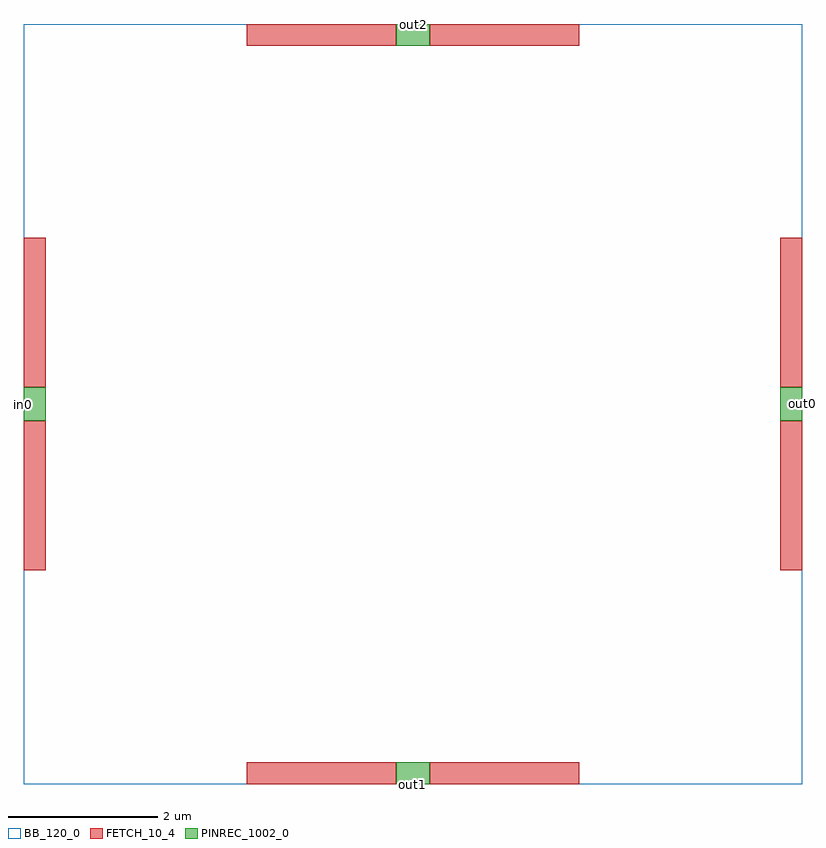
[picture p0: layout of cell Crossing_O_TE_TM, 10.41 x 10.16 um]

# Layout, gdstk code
import gdstk
lib = gdstk.Library(unit=1e-6, precision=1e-09)
def R(c, l, rs):  # rectangles x0, y0, x1, y1
    for r in rs: c.add(gdstk.rectangle(r[:2], r[2:], *l))
FETCH_10_4 = (10, 4)
BB_120_0 = (120, 0)
PINREC_1002_0 = (1002, 0)

crossing_o_te_tm = lib.new_cell('Crossing_O_TE_TM')
R(crossing_o_te_tm, FETCH_10_4, [(2.979,0,4.979,0.29), (5.429,0,7.429,0.29), (0,2.857,0.29,4.857), (10.118,2.857,10.408,4.857), (0,5.307,0.29,7.307), (10.118,5.307,10.408,7.307), (2.979,9.874,4.979,10.164), (5.429,9.874,7.429,10.164)])
R(crossing_o_te_tm, BB_120_0, [(0,0,10.408,10.164)])
R(crossing_o_te_tm, PINREC_1002_0, [(4.979,0,5.429,0.29), (0,4.857,0.29,5.307), (10.118,4.857,10.408,5.307), (4.979,9.874,5.429,10.164)])
crossing_o_te_tm.add(gdstk.Label('out2', (5.209,10.164), layer=1000, texttype=0))
crossing_o_te_tm.add(gdstk.Label('out1', (5.198,0), layer=1000, texttype=0))
crossing_o_te_tm.add(gdstk.Label('out0', (10.408,5.095), layer=1000, texttype=0))
crossing_o_te_tm.add(gdstk.Label('in0', (0,5.081), layer=1000, texttype=0))

lib.write_gds('Crossing_O_TE_TM.gds')
